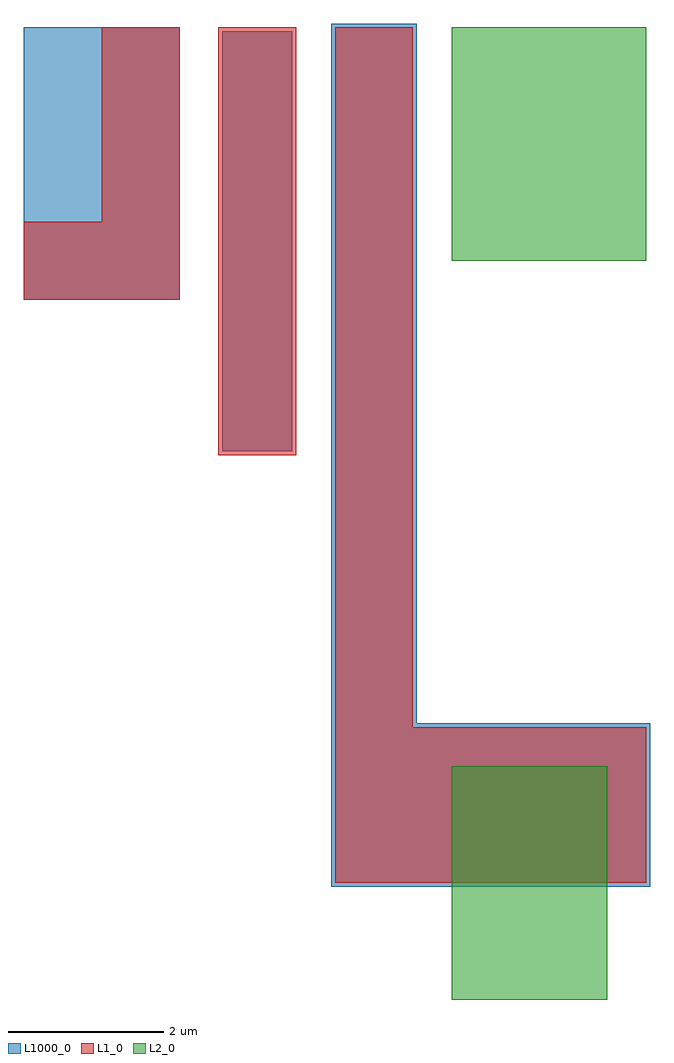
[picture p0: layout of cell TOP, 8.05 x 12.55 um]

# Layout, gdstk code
import gdstk
lib = gdstk.Library(unit=1e-6, precision=1e-09)
def R(c, l, rs):  # rectangles x0, y0, x1, y1
    for r in rs: c.add(gdstk.rectangle(r[:2], r[2:], *l))
def P(c, l, *ps):  # polygons
    for p in ps: c.add(gdstk.Polygon(p, *l))
L1_0 = (1, 0)
L2_0 = (2, 0)
L1000_0 = (1000, 0)

part = lib.new_cell('PART')
R(part, L1_0, [(0,0,1,5.5)])

top = lib.new_cell('TOP')
R(top, L1_0, [(1,-5.5,4,-3.5)])
P(top, L1_0, [(-4,2),(-4,3),(-3,3),(-3,5.5),(-2,5.5),(-2,2)])
R(top, L2_0, [(1.5,-7,3.5,-4), (1.5,2.5,4,5.5)])
R(top, L1000_0, [(-1.45,0.05,-0.55,5.45), (-4,2,-2,5.5)])
P(top, L1000_0, [(-0.05,-5.55),(-0.05,5.55),(1.05,5.55),(1.05,-3.45),(4.05,-3.45),(4.05,-5.55)])
top.add(gdstk.Reference(part, (0,0)))
top.add(gdstk.Reference(part, (0,-5.5)))
top.add(gdstk.Reference(part, (-1.5,0)))

lib.write_gds('TOP.gds')
